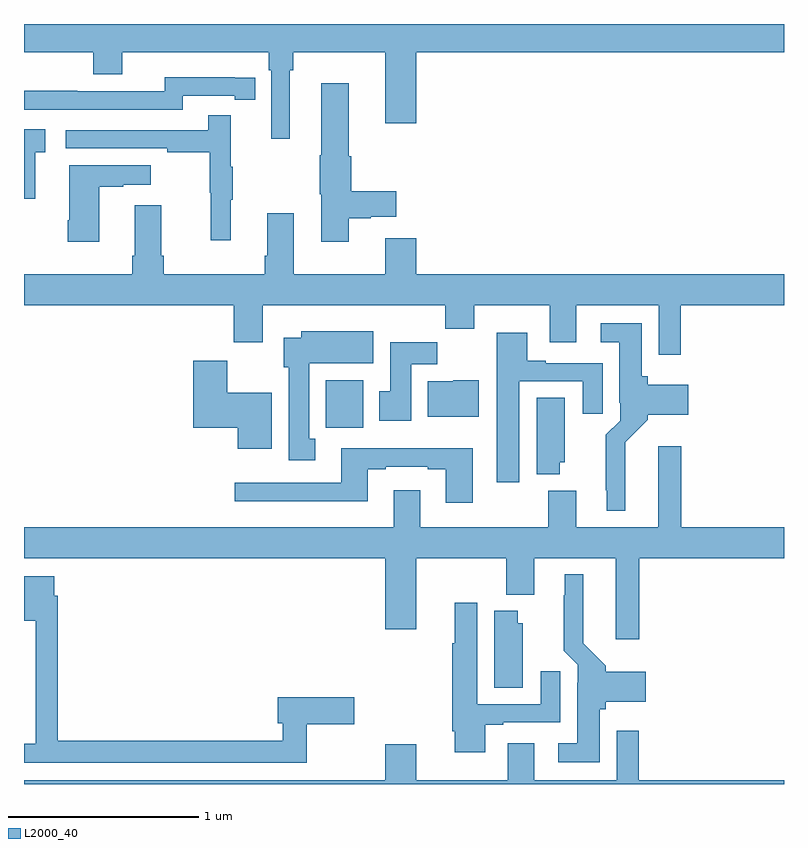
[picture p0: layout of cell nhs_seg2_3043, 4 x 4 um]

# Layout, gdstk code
import gdstk
lib = gdstk.Library(unit=1e-6, precision=1e-09)
def R(c, l, rs):  # rectangles x0, y0, x1, y1
    for r in rs: c.add(gdstk.rectangle(r[:2], r[2:], *l))
def P(c, l, *ps):  # polygons
    for p in ps: c.add(gdstk.Polygon(p, *l))
L2000_40 = (2000, 40)

nhs_seg2_3043 = lib.new_cell('nhs_seg2_3043')
R(nhs_seg2_3043, L2000_40, [(272.589,629.676,272.785,629.926)])
P(nhs_seg2_3043, L2000_40, [(272.398,631.556),(272.417,631.556),(272.417,631.652),(272.9,631.652),(272.9,631.278),(273.064,631.278),(273.064,631.652),(275,631.652),(275,631.8),(271,631.8),(271,631.652),(271.364,631.652),(271.364,631.535),(271.516,631.535),(271.516,631.652),(272.288,631.652),(272.288,631.556),(272.301,631.556),(272.301,631.197),(272.398,631.197)],
  [(271.836,631.422),(272.108,631.422),(272.108,631.402),(272.216,631.402),(272.216,631.518),(272.108,631.518),(272.108,631.519),(271.74,631.519),(271.74,631.446),(271.28,631.446),(271.28,631.448),(271,631.448),(271,631.35),(271.836,631.35)],
  [(272.71,630.778),(272.826,630.778),(272.826,630.785),(272.959,630.785),(272.959,630.92),(272.723,630.92),(272.723,631.103),(272.71,631.103),(272.71,631.489),(272.564,631.489),(272.564,631.109),(272.557,631.109),(272.557,630.903),(272.564,630.903),(272.564,630.654),(272.71,630.654)],
  [(272.087,630.875),(272.098,630.875),(272.098,631.049),(272.087,631.049),(272.087,631.321),(271.969,631.321),(271.969,631.242),(271.221,631.242),(271.221,631.146),(271.753,631.146),(271.753,631.126),(271.977,631.126),(271.977,630.912),(271.984,630.912),(271.984,630.663),(272.087,630.663)],
  [(271.058,631.125),(271.111,631.125),(271.111,631.246),(271,631.246),(271,630.879),(271.058,630.879)],
  [(271.396,630.943),(271.523,630.943),(271.523,630.953),(271.666,630.953),(271.666,631.057),(271.238,631.057),(271.238,630.766),(271.231,630.766),(271.231,630.654),(271.396,630.654)],
  [(274.457,630.32),(275,630.32),(275,630.484),(273.064,630.484),(273.064,630.673),(272.9,630.673),(272.9,630.484),(272.419,630.484),(272.419,630.805),(272.279,630.805),(272.279,630.58),(272.267,630.58),(272.267,630.484),(271.736,630.484),(271.736,630.58),(271.723,630.58),(271.723,630.847),(271.583,630.847),(271.583,630.58),(271.571,630.58),(271.571,630.484),(271,630.484),(271,630.32),(272.105,630.32),(272.105,630.126),(272.257,630.126),(272.257,630.32),(273.217,630.32),(273.217,630.196),(273.369,630.196),(273.369,630.32),(273.767,630.32),(273.767,630.126),(273.907,630.126),(273.907,630.32),(274.341,630.32),(274.341,630.06),(274.457,630.06)],
  [(274.165,629.6),(274.283,629.718),(274.283,629.744),(274.495,629.744),(274.495,629.902),(274.283,629.902),(274.283,629.946),(274.252,629.946),(274.252,630.226),(274.035,630.226),(274.035,630.125),(274.133,630.125),(274.133,629.806),(274.137,629.806),(274.137,629.712),(274.063,629.638),(274.063,629.347),(274.067,629.347),(274.067,629.237),(274.165,629.237)],
  [(272.533,629.617),(272.5,629.617),(272.5,630.014),(272.839,630.014),(272.839,630.184),(272.459,630.184),(272.459,630.148),(272.366,630.148),(272.366,629.994),(272.393,629.994),(272.393,629.505),(272.533,629.505)],
  [(273.607,629.919),(273.941,629.919),(273.941,629.748),(274.045,629.748),(274.045,630.015),(273.745,630.015),(273.745,630.028),(273.649,630.028),(273.649,630.175),(273.488,630.175),(273.488,629.388),(273.607,629.388)],
  [(273.037,630.008),(273.176,630.008),(273.176,630.126),(272.927,630.126),(272.927,629.868),(272.87,629.868),(272.87,629.712),(273.037,629.712)],
  [(272.305,629.86),(272.07,629.86),(272.07,630.028),(271.892,630.028),(271.892,629.675),(272.126,629.675),(272.126,629.564),(272.305,629.564)],
  [(273.394,629.926),(273.258,629.926),(273.258,629.92),(273.125,629.92),(273.125,629.732),(273.394,629.732)],
  [(273.82,629.493),(273.847,629.493),(273.847,629.834),(273.698,629.834),(273.698,629.429),(273.82,629.429)],
  [(274.238,628.988),(275,628.988),(275,629.152),(274.46,629.152),(274.46,629.578),(274.337,629.578),(274.337,629.152),(273.907,629.152),(273.907,629.344),(273.76,629.344),(273.76,629.152),(273.085,629.152),(273.085,629.347),(272.945,629.347),(272.945,629.152),(271,629.152),(271,628.988),(272.9,628.988),(272.9,628.614),(273.064,628.614),(273.064,628.988),(273.538,628.988),(273.538,628.796),(273.685,628.796),(273.685,628.988),(274.115,628.988),(274.115,628.563),(274.238,628.563)],
  [(273.361,629.566),(272.669,629.566),(272.669,629.385),(272.109,629.385),(272.109,629.288),(272.809,629.288),(272.809,629.457),(272.905,629.457),(272.905,629.469),(273.125,629.469),(273.125,629.457),(273.221,629.457),(273.221,629.28),(273.361,629.28)],
  [(274.03,628.194),(274.061,628.194),(274.061,628.232),(274.273,628.232),(274.273,628.39),(274.061,628.39),(274.061,628.422),(273.943,628.54),(273.943,628.903),(273.845,628.903),(273.845,628.793),(273.841,628.793),(273.841,628.502),(273.915,628.428),(273.915,628.334),(273.911,628.334),(273.911,628.015),(273.813,628.015),(273.813,627.914),(274.03,627.914)],
  [(272.488,628.114),(272.737,628.114),(272.737,628.256),(272.336,628.256),(272.336,628.121),(272.363,628.121),(272.363,628.028),(271.178,628.028),(271.178,628.79),(271.159,628.79),(271.159,628.894),(271,628.894),(271,628.658),(271.062,628.658),(271.062,628.012),(271,628.012),(271,627.912),(272.488,627.912)],
  [(273.427,628.113),(273.523,628.113),(273.523,628.125),(273.823,628.125),(273.823,628.393),(273.719,628.393),(273.719,628.221),(273.385,628.221),(273.385,628.753),(273.266,628.753),(273.266,628.54),(273.254,628.54),(273.254,628.078),(273.266,628.078),(273.266,627.966),(273.427,627.966)],
  [(273.625,628.647),(273.598,628.647),(273.598,628.711),(273.476,628.711),(273.476,628.306),(273.625,628.306)],
  [(275,627.82),(274.235,627.82),(274.235,628.081),(274.119,628.081),(274.119,627.82),(273.685,627.82),(273.685,628.015),(273.545,628.015),(273.545,627.82),(273.064,627.82),(273.064,628.009),(272.9,628.009),(272.9,627.82),(271,627.82),(271,627.8),(275,627.8)])

lib.write_gds('nhs_seg2_3043.gds')
